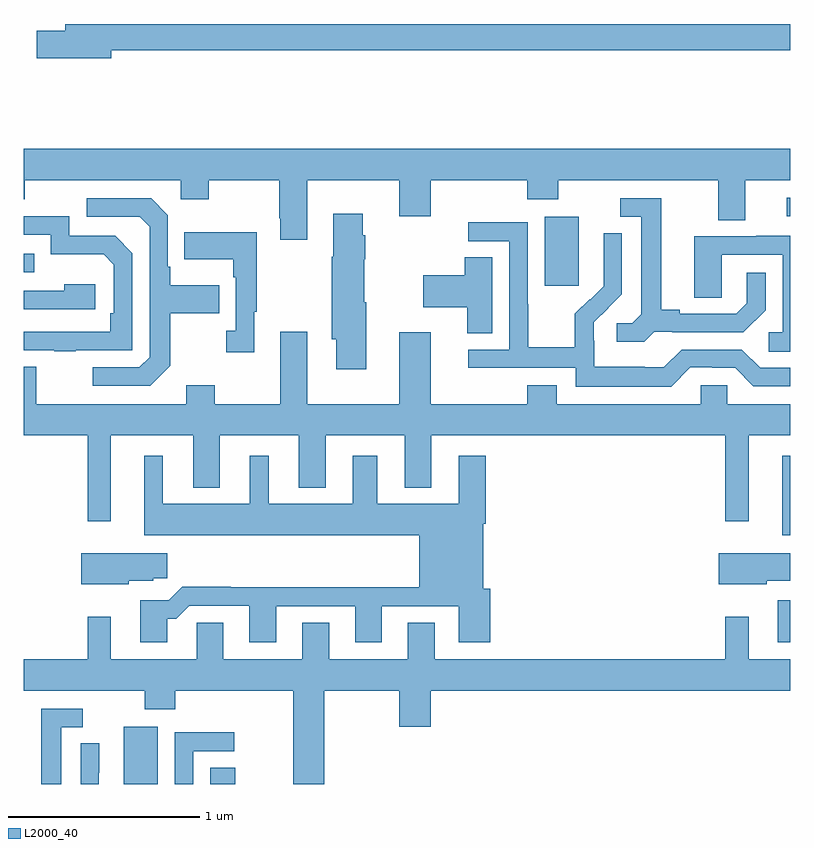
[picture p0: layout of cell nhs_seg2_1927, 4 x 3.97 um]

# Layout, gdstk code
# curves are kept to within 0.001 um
import gdstk
lib = gdstk.Library(unit=1e-6, precision=1e-09)
def R(c, l, rs):  # rectangles x0, y0, x1, y1
    for r in rs: c.add(gdstk.rectangle(r[:2], r[2:], *l))
def P(c, l, *ps):  # polygons
    for p in ps: c.add(gdstk.Polygon(p, *l))
L2000_40 = (2000, 40)

nhs_seg2_1927 = lib.new_cell('nhs_seg2_1927')
R(nhs_seg2_1927, L2000_40, [(211.52,661.8,211.699,662.098), (211.973,661.8,212.104,661.886), (214.937,662.541,215,662.76), (214.958,663.098,215,663.514), (213.719,664.401,213.898,664.762), (211,664.473,211.055,664.569), (214.983,664.764,215,664.86)])
P(nhs_seg2_1927, L2000_40, [(211.456,665.632),(215,665.632),(215,665.768),(211.217,665.768),(211.217,665.732),(211.068,665.732),(211.068,665.59),(211.456,665.59)],
  [(211,664.853),(211.005,664.853),(211.005,664.952),(211.818,664.952),(211.818,664.853),(211.965,664.853),(211.965,664.952),(212.332,664.952),(212.332,664.753),(212.339,664.753),(212.339,664.641),(212.479,664.641),(212.479,664.952),(212.96,664.952),(212.96,664.764),(213.124,664.764),(213.124,664.952),(213.629,664.952),(213.629,664.853),(213.789,664.853),(213.789,664.952),(214.625,664.952),(214.625,664.744),(214.765,664.744),(214.765,664.952),(215,664.952),(215,665.116),(211,665.116)],
  [(214.29,664.161),(214.384,664.161),(214.384,664.158),(214.756,664.158),(214.872,664.274),(214.872,664.468),(214.775,664.468),(214.775,664.311),(214.718,664.254),(214.423,664.254),(214.423,664.277),(214.327,664.277),(214.327,664.857),(214.113,664.857),(214.113,664.761),(214.223,664.761),(214.223,664.253),(214.176,664.206),(214.095,664.206),(214.095,664.109),(214.238,664.109)],
  [(211.765,663.985),(211.765,664.258),(212.021,664.258),(212.021,664.405),(211.765,664.405),(211.765,664.501),(211.752,664.501),(211.752,664.77),(211.665,664.857),(211.329,664.857),(211.329,664.761),(211.605,664.761),(211.656,664.71),(211.656,664.029),(211.602,663.975),(211.359,663.975),(211.359,663.879),(211.659,663.879)],
  [(212.788,664.314),(212.778,664.314),(212.778,664.539),(212.783,664.539),(212.783,664.664),(212.77,664.664),(212.77,664.777),(212.615,664.777),(212.615,664.553),(212.608,664.553),(212.608,664.122),(212.63,664.122),(212.63,663.966),(212.788,663.966)],
  [(211.271,664.065),(211.566,664.065),(211.566,664.572),(211.476,664.662),(211.236,664.662),(211.236,664.764),(211,664.764),(211,664.668),(211.14,664.668),(211.14,664.565),(211.417,664.565),(211.47,664.512),(211.47,664.258),(211.45,664.258),(211.45,664.161),(211,664.161),(211,664.065),(211.159,664.065),(211.159,664.06),(211.271,664.06)],
  [(214.479,663.975),(214.595,663.975),(214.595,663.972),(214.713,663.972),(214.809,663.876),(215,663.876),(215,663.972),(214.845,663.972),(214.749,664.068),(214.434,664.068),(214.341,663.975),(214.241,663.975),(214.241,663.979),(213.978,663.979),(213.978,664.113),(213.976,664.113),(213.976,664.21),(214.122,664.358),(214.122,664.676),(214.026,664.676),(214.026,664.522),(214.028,664.522),(214.028,664.4),(213.957,664.329),(213.954,664.332),(213.877,664.255),(213.877,664.081),(213.633,664.081),(213.633,664.304),(213.63,664.304),(213.63,664.734),(213.321,664.734),(213.321,664.635),(213.534,664.635),(213.534,664.068),(213.321,664.068),(213.321,663.972),(213.882,663.972),(213.882,663.875),(214.379,663.875)],
  [(212.203,664.265),(212.215,664.265),(212.215,664.681),(211.837,664.681),(211.837,664.541),(212.094,664.541),(212.094,664.445),(212.106,664.445),(212.106,664.166),(212.055,664.166),(212.055,664.053),(212.203,664.053)],
  [(215,664.663),(214.823,664.663),(214.823,664.659),(214.499,664.659),(214.499,664.339),(214.644,664.339),(214.644,664.563),(214.962,664.563),(214.962,664.158),(214.89,664.158),(214.89,664.057),(215,664.057)],
  [(213.445,664.55),(213.302,664.55),(213.302,664.455),(213.084,664.455),(213.084,664.289),(213.314,664.289),(213.314,664.153),(213.445,664.153)],
  [(211.372,664.408),(211.211,664.408),(211.211,664.374),(211,664.374),(211,664.278),(211.372,664.278)],
  [(214.533,663.784),(213.781,663.784),(213.781,663.883),(213.629,663.883),(213.629,663.784),(213.124,663.784),(213.124,664.159),(212.96,664.159),(212.96,663.784),(212.479,663.784),(212.479,664.162),(212.339,664.162),(212.339,663.784),(211.995,663.784),(211.995,663.883),(211.847,663.883),(211.847,663.784),(211.063,663.784),(211.063,663.979),(211,663.979),(211,663.62),(211.332,663.62),(211.332,663.171),(211.453,663.171),(211.453,663.62),(211.883,663.62),(211.883,663.347),(212.023,663.347),(212.023,663.62),(212.435,663.62),(212.435,663.347),(212.575,663.347),(212.575,663.62),(212.987,663.62),(212.987,663.347),(213.127,663.347),(213.127,663.62),(214.662,663.62),(214.662,663.171),(214.783,663.171),(214.783,663.62),(215,663.62),(215,663.784),(214.671,663.784),(214.671,663.882),(214.533,663.882)],
  [(211.747,662.663),(211.796,662.663),(211.863,662.73),(212.177,662.73),(212.177,662.541),(212.317,662.541),(212.317,662.727),(212.729,662.727),(212.729,662.541),(212.869,662.541),(212.869,662.727),(213.269,662.727),(213.269,662.541),(213.434,662.541),(213.434,662.82),(213.397,662.82),(213.397,663.158),(213.41,663.158),(213.41,663.514),(213.269,663.514),(213.269,663.262),(212.845,663.262),(212.845,663.514),(212.717,663.514),(212.717,663.262),(212.278,663.262),(212.278,663.514),(212.18,663.514),(212.18,663.262),(211.726,663.262),(211.726,663.514),(211.628,663.514),(211.628,663.098),(213.065,663.098),(213.065,662.828),(212.081,662.828),(212.081,662.831),(211.826,662.831),(211.755,662.76),(211.607,662.76),(211.607,662.541),(211.747,662.541)],
  [(214.878,662.861),(215,662.861),(215,663.004),(214.628,663.004),(214.628,662.843),(214.878,662.843)],
  [(211.548,662.861),(211.674,662.861),(211.674,662.875),(211.747,662.875),(211.747,663.004),(211.298,663.004),(211.298,662.843),(211.548,662.843)],
  [(212.569,662.288),(212.96,662.288),(212.96,662.1),(213.124,662.1),(213.124,662.288),(215,662.288),(215,662.452),(214.783,662.452),(214.783,662.674),(214.662,662.674),(214.662,662.452),(213.145,662.452),(213.145,662.642),(213.005,662.642),(213.005,662.452),(212.593,662.452),(212.593,662.642),(212.453,662.642),(212.453,662.452),(212.041,662.452),(212.041,662.642),(211.902,662.642),(211.902,662.452),(211.453,662.452),(211.453,662.674),(211.332,662.674),(211.332,662.452),(211,662.452),(211,662.288),(211.63,662.288),(211.63,662.189),(211.79,662.189),(211.79,662.288),(212.405,662.288),(212.405,661.8),(212.569,661.8)],
  [(211.195,662.097),(211.306,662.097),(211.306,662.193),(211.091,662.193),(211.091,661.8),(211.195,661.8)],
  [(211.884,661.971),(212.098,661.971),(212.098,662.07),(211.788,662.07),(211.788,661.8),(211.884,661.8)],
  [(211.391,661.858),(211.392,661.858),(211.392,662.012),(211.296,662.012),(211.296,661.8),(211.391,661.8)])

lib.write_gds('nhs_seg2_1927.gds')
